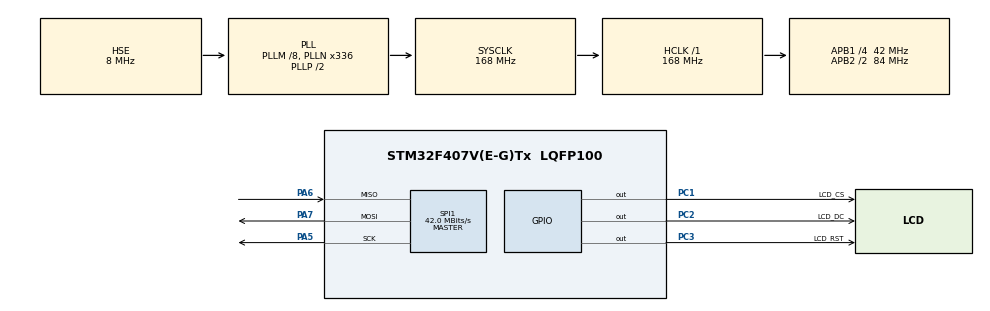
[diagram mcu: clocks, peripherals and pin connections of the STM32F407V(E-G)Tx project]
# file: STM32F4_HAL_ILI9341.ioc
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Dma.Request0=SPI1_TX
Dma.SPI1_TX.0.Direction=DMA_MEMORY_TO_PERIPH
Dma.SPI1_TX.0.FIFOMode=DMA_FIFOMODE_DISABLE
Dma.SPI1_TX.0.Instance=DMA2_Stream3
Dma.SPI1_TX.0.MemDataAlignment=DMA_MDATAALIGN_BYTE
Dma.SPI1_TX.0.MemInc=DMA_MINC_ENABLE
Dma.SPI1_TX.0.Mode=DMA_NORMAL
Dma.SPI1_TX.0.PeriphDataAlignment=DMA_PDATAALIGN_BYTE
Dma.SPI1_TX.0.PeriphInc=DMA_PINC_DISABLE
Dma.SPI1_TX.0.Priority=DMA_PRIORITY_LOW
Mcu.Family=STM32F4
Mcu.Name=STM32F407V(E-G)Tx
Mcu.Package=LQFP100
NVIC.DMA2_Stream3_IRQn=true\:0\:0\:false\:false\:true\:false
NVIC.PriorityGroup=NVIC_PRIORITYGROUP_0
NVIC.SPI1_IRQn=true\:0\:0\:false\:false\:true\:true
PA5.Mode=Full_Duplex_Master
PA5.Signal=SPI1_SCK
PA6.Mode=Full_Duplex_Master
PA6.Signal=SPI1_MISO
PA7.Mode=Full_Duplex_Master
PA7.Signal=SPI1_MOSI
PC1.GPIO_Label=LCD_CS
PC1.Signal=GPIO_Output
PC2.GPIO_Label=LCD_DC
PC2.Signal=GPIO_Output
PC3.GPIO_Label=LCD_RST
PC3.Signal=GPIO_Output
PH0-OSC_IN.Mode=HSE-External-Oscillator
PH0-OSC_IN.Signal=RCC_OSC_IN
PH1-OSC_OUT.Mode=HSE-External-Oscillator
PH1-OSC_OUT.Signal=RCC_OSC_OUT
ProjectManager.HeapSize=0x200
ProjectManager.StackSize=0x400
ProjectManager.TargetToolchain=TrueSTUDIO
RCC.48MHZClocksFreq_Value=48000000
RCC.AHBFreq_Value=168000000
RCC.APB1CLKDivider=RCC_HCLK_DIV4
RCC.APB1Freq_Value=42000000
RCC.APB1TimFreq_Value=84000000
RCC.APB2CLKDivider=RCC_HCLK_DIV2
RCC.APB2Freq_Value=84000000
RCC.APB2TimFreq_Value=168000000
RCC.CortexFreq_Value=168000000
RCC.HCLKFreq_Value=168000000
RCC.HSE_VALUE=8000000
RCC.HSI_VALUE=16000000
RCC.LSE_VALUE=32768
RCC.PLLM=8
RCC.PLLN=336
RCC.PLLQ=7
RCC.PLLSourceVirtual=RCC_PLLSOURCE_HSE
RCC.SYSCLKFreq_VALUE=168000000
RCC.SYSCLKSource=RCC_SYSCLKSOURCE_PLLCLK
RCC.VCOOutputFreq_Value=336000000
SPI1.BaudRatePrescaler=SPI_BAUDRATEPRESCALER_2
SPI1.CalculateBaudRate=42.0 MBits/s
SPI1.Direction=SPI_DIRECTION_2LINES
SPI1.Mode=SPI_MODE_MASTER
SPI1.VirtualType=VM_MASTER
VP_RNG_VS_RNG.Mode=RNG_Activate
board=STM32F4DISCOVERY

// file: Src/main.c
/**
  ******************************************************************************
  * @file           : main.c
  * @brief          : Main program body
  ******************************************************************************
  ** This notice applies to any and all portions of this file
  * that are not between comment pairs USER CODE BEGIN and
  * USER CODE END. Other portions of this file, whether
  * inserted by the user or by software development tools
  * are owned by their respective copyright owners.
  *
  * COPYRIGHT(c) 2019 STMicroelectronics
  *
  * Redistribution and use in source and binary forms, with or without modification,
  * are permitted provided that the following conditions are met:
  *   1. Redistributions of source code must retain the above copyright notice,
  *      this list of conditions and the following disclaimer.
  *   2. Redistributions in binary form must reproduce the above copyright notice,
  *      this list of conditions and the following disclaimer in the documentation
  *      and/or other materials provided with the distribution.
  *   3. Neither the name of STMicroelectronics nor the names of its contributors
  *      may be used to endorse or promote products derived from this software
  *      without specific prior written permission.
  *
  * THIS SOFTWARE IS PROVIDED BY THE COPYRIGHT HOLDERS AND CONTRIBUTORS "AS IS"
  * AND ANY EXPRESS OR IMPLIED WARRANTIES, INCLUDING, BUT NOT LIMITED TO, THE
  * IMPLIED WARRANTIES OF MERCHANTABILITY AND FITNESS FOR A PARTICULAR PURPOSE ARE
  * DISCLAIMED. IN NO EVENT SHALL THE COPYRIGHT HOLDER OR CONTRIBUTORS BE LIABLE
  * FOR ANY DIRECT, INDIRECT, INCIDENTAL, SPECIAL, EXEMPLARY, OR CONSEQUENTIAL
  * DAMAGES (INCLUDING, BUT NOT LIMITED TO, PROCUREMENT OF SUBSTITUTE GOODS OR
  * SERVICES; LOSS OF USE, DATA, OR PROFITS; OR BUSINESS INTERRUPTION) HOWEVER
  * CAUSED AND ON ANY THEORY OF LIABILITY, WHETHER IN CONTRACT, STRICT LIABILITY,
  * OR TORT (INCLUDING NEGLIGENCE OR OTHERWISE) ARISING IN ANY WAY OUT OF THE USE
  * OF THIS SOFTWARE, EVEN IF ADVISED OF THE POSSIBILITY OF SUCH DAMAGE.
  *
  ******************************************************************************
  */
#include "main.h"
#include "stm32f4xx_hal.h"

/* USER CODE BEGIN Includes */
#include "ILI9341_STM32_Driver.h"
#include "ILI9341_GFX.h"
#include "snow_tiger.h"

/* USER CODE END Includes */

RNG_HandleTypeDef hrng;

SPI_HandleTypeDef hspi1;
DMA_HandleTypeDef hdma_spi1_tx;

/* USER CODE BEGIN PV */
/* Private variables ---------------------------------------------------------*/

/* USER CODE END PV */

void SystemClock_Config(void);
static void MX_GPIO_Init(void);
static void MX_DMA_Init(void);
static void MX_SPI1_Init(void);
static void MX_RNG_Init(void);

/* USER CODE BEGIN PFP */
/* Private function prototypes -----------------------------------------------*/

/* USER CODE END PFP */

int main(void)
{

  /* MCU Configuration----------------------------------------------------------*/

  /* Reset of all peripherals, Initializes the Flash interface and the Systick. */
  HAL_Init();

  /* Configure the system clock */
  SystemClock_Config();

  /* Initialize all configured peripherals */
  MX_GPIO_Init();
  MX_DMA_Init();
  MX_SPI1_Init();
  MX_RNG_Init();
  /* USER CODE BEGIN 2 */
	ILI9341_Init();

  /* USER CODE END 2 */

  /* Infinite loop */
  /* USER CODE BEGIN WHILE */
	while (1)
	{
		static uint16_t x = 0;
		static uint16_t y = 0;
		static char BufferText[40];

  /* USER CODE END WHILE */

  /* USER CODE BEGIN 3 */

		/* COUNTING MULTIPLE SEGMENTS */
		ILI9341_FillScreen(WHITE);
		ILI9341_SetRotation(SCREEN_HORIZONTAL_2);
		ILI9341_DrawText("Counting multiple segments at once", FONT2, 10, 10, BLACK, WHITE);
		HAL_Delay(2000);
		ILI9341_FillScreen(WHITE);

		for(uint16_t i = 0; i <= 10; i++)
		{
			sprintf(BufferText, "Counting: %d", i);
			ILI9341_DrawText(BufferText, FONT3, 10, 10, BLACK, WHITE);
			ILI9341_DrawText(BufferText, FONT3, 10, 30, BLUE, WHITE);
			ILI9341_DrawText(BufferText, FONT3, 10, 50, RED, WHITE);
			ILI9341_DrawText(BufferText, FONT3, 10, 70, GREEN, WHITE);
			ILI9341_DrawText(BufferText, FONT3, 10, 90, BLACK, WHITE);
			ILI9341_DrawText(BufferText, FONT3, 10, 110, BLUE, WHITE);
			ILI9341_DrawText(BufferText, FONT3, 10, 130, RED, WHITE);
			ILI9341_DrawText(BufferText, FONT3, 10, 150, GREEN, WHITE);
			ILI9341_DrawText(BufferText, FONT3, 10, 170, WHITE, BLACK);
			ILI9341_DrawText(BufferText, FONT3, 10, 190, BLUE, BLACK);
			ILI9341_DrawText(BufferText, FONT3, 10, 210, RED, BLACK);
		}
		HAL_Delay(1000);

		/* COUNTING SINGLE SEGMENT */
		ILI9341_FillScreen(WHITE);
		ILI9341_SetRotation(SCREEN_HORIZONTAL_2);
		ILI9341_DrawText("Counting single segment", FONT3, 10, 10, BLACK, WHITE);
		HAL_Delay(2000);
		ILI9341_FillScreen(WHITE);

		for(uint16_t i = 0; i <= 100; i++)
		{
			sprintf(BufferText, "Counting: %d", i);
			ILI9341_DrawText(BufferText, FONT4, 10, 10, BLACK, WHITE);
			HAL_Delay(10);
		}
		HAL_Delay(1000);

		/* ALIGNMENT TEST */
		ILI9341_FillScreen(WHITE);
		ILI9341_SetRotation(SCREEN_HORIZONTAL_2);
		ILI9341_DrawText("Rectangle alignment check", FONT3, 10, 10, BLACK, WHITE);
		HAL_Delay(2000);
		ILI9341_FillScreen(WHITE);

		ILI9341_DrawHollowRectangleCoord(50, 50, 100, 100, BLACK);
		ILI9341_DrawFilledRectangleCoord(20, 20, 50, 50, BLACK);
		ILI9341_DrawHollowRectangleCoord(10, 10, 19, 19, BLACK);
		HAL_Delay(1000);

		/* LINES EXAMPLE */
		ILI9341_FillScreen(WHITE);
		ILI9341_SetRotation(SCREEN_HORIZONTAL_2);
		ILI9341_DrawText("Randomly placed and sized", FONT3, 10, 10, BLACK, WHITE);
		ILI9341_DrawText("Horizontal and Vertical lines", FONT3, 10, 30, BLACK, WHITE);
		HAL_Delay(2000);
		ILI9341_FillScreen(WHITE);

		for(uint32_t i = 0; i < 30000; i++)
		{
			uint32_t random_num = 0;
			uint16_t xr = 0;
			uint16_t yr = 0;
			uint16_t radiusr = 0;
			uint16_t colourr = 0;

			/* Get random inputs */
			random_num = HAL_RNG_GetRandomNumber(&hrng);
			xr = random_num;
			random_num = HAL_RNG_GetRandomNumber(&hrng);
			yr = random_num;
			random_num = HAL_RNG_GetRandomNumber(&hrng);
			radiusr = random_num;
			random_num = HAL_RNG_GetRandomNumber(&hrng);
			colourr = random_num;

			xr &= 0x01FF;
			yr &= 0x01FF;
			radiusr &= 0x001F;

			ILI9341_DrawHLine(xr, yr, radiusr, colourr);
			ILI9341_DrawVLine(xr, yr, radiusr, colourr);
		}
		HAL_Delay(1000);

		/* HOLLOW CIRCLES EXAMPLE */
		ILI9341_FillScreen(WHITE);
		ILI9341_SetRotation(SCREEN_HORIZONTAL_2);
		ILI9341_DrawText("Randomly placed and sized", FONT3, 10, 10, BLACK, WHITE);
		ILI9341_DrawText("Circles", FONT3, 10, 30, BLACK, WHITE);
		HAL_Delay(2000);
		ILI9341_FillScreen(WHITE);

		for(uint32_t i = 0; i < 3000; i++)
		{
			uint32_t random_num = 0;
			uint16_t xr = 0;
			uint16_t yr = 0;
			uint16_t radiusr = 0;
			uint16_t colourr = 0;

			random_num = HAL_RNG_GetRandomNumber(&hrng);
			xr = random_num;
			random_num = HAL_RNG_GetRandomNumber(&hrng);
			yr = random_num;
			random_num = HAL_RNG_GetRandomNumber(&hrng);
			radiusr = random_num;
			random_num = HAL_RNG_GetRandomNumber(&hrng);
			colourr = random_num;

			xr &= 0x01FF;
			yr &= 0x01FF;
			radiusr &= 0x001F;

			ILI9341_DrawHollowCircle(xr, yr, radiusr*2, colourr);
		}
		HAL_Delay(1000);

		/* FILLED CIRCLES EXAMPLE */
		ILI9341_FillScreen(WHITE);
		ILI9341_SetRotation(SCREEN_HORIZONTAL_2);
		ILI9341_DrawText("Randomly placed and sized", FONT3, 10, 10, BLACK,WHITE);
		ILI9341_DrawText("Filled Circles", FONT3, 10, 30, BLACK, WHITE);
		HAL_Delay(2000);
		ILI9341_FillScreen(WHITE);

		for(uint32_t i = 0; i < 1000; i++)
		{
			uint32_t random_num = 0;
			uint16_t xr = 0;
			uint16_t yr = 0;
			uint16_t radiusr = 0;
			uint16_t colourr = 0;

			random_num = HAL_RNG_GetRandomNumber(&hrng);
			xr = random_num;
			random_num = HAL_RNG_GetRandomNumber(&hrng);
			yr = random_num;
			random_num = HAL_RNG_GetRandomNumber(&hrng);
			radiusr = random_num;
			random_num = HAL_RNG_GetRandomNumber(&hrng);
			colourr = random_num;

			xr &= 0x01FF;
			yr &= 0x01FF;
			radiusr &= 0x001F;

			ILI9341_DrawFilledCircle(xr, yr, radiusr/2, colourr);
		}
		HAL_Delay(1000);

		/* HOLLOW RECTANGLES EXAMPLE */
		ILI9341_FillScreen(WHITE);
		ILI9341_SetRotation(SCREEN_HORIZONTAL_2);
		ILI9341_DrawText("Randomly placed and sized", FONT3, 10, 10, BLACK, WHITE);
		ILI9341_DrawText("Rectangles", FONT3, 10, 30, BLACK, WHITE);
		HAL_Delay(2000);
		ILI9341_FillScreen(WHITE);

		for(uint32_t i = 0; i < 20000; i++)
		{
			uint32_t random_num = 0;
			uint16_t xr = 0;
			uint16_t yr = 0;
			uint16_t radiusr = 0;
			uint16_t colourr = 0;

			random_num = HAL_RNG_GetRandomNumber(&hrng);
			xr = random_num;
			random_num = HAL_RNG_GetRandomNumber(&hrng);
			yr = random_num;
			random_num = HAL_RNG_GetRandomNumber(&hrng);
			radiusr = random_num;
			random_num = HAL_RNG_GetRandomNumber(&hrng);
			colourr = random_num;

			xr &= 0x01FF;
			yr &= 0x01FF;
			radiusr &= 0x001F;

			ILI9341_DrawHollowRectangleCoord(xr, yr, xr+radiusr, yr+radiusr, colourr);
		}
		HAL_Delay(1000);

		/* FILLED RECTANGLES EXAMPLE */
		ILI9341_FillScreen(WHITE);
		ILI9341_SetRotation(SCREEN_HORIZONTAL_2);
		ILI9341_DrawText("Randomly placed and sized", FONT3, 10, 10, BLACK, WHITE);
		ILI9341_DrawText("Filled Rectangles", FONT3, 10, 30, BLACK, WHITE);
		HAL_Delay(2000);
		ILI9341_FillScreen(WHITE);

		for(uint32_t i = 0; i < 20000; i++)
		{
			uint32_t random_num = 0;
			uint16_t xr = 0;
			uint16_t yr = 0;
			uint16_t radiusr = 0;
			uint16_t color = 0;

			random_num = HAL_RNG_GetRandomNumber(&hrng);
			xr = random_num;
			random_num = HAL_RNG_GetRandomNumber(&hrng);
			yr = random_num;
			random_num = HAL_RNG_GetRandomNumber(&hrng);
			radiusr = random_num;
			random_num = HAL_RNG_GetRandomNumber(&hrng);
			color = random_num;

			xr &= 0x01FF;
			yr &= 0x01FF;
			radiusr &= 0x001F;

			ILI9341_DrawRectangle(xr, yr, radiusr, radiusr, color);
		}
		HAL_Delay(1000);

		/* INDIVIDUAL PIXEL EXAMPLE */

		ILI9341_FillScreen(WHITE);
		ILI9341_SetRotation(SCREEN_HORIZONTAL_2);
		ILI9341_DrawText("Slow draw by selecting", FONT3, 10, 10, BLACK, WHITE);
		ILI9341_DrawText("and adressing pixels", FONT3, 10, 30, BLACK, WHITE);
		HAL_Delay(2000);
		ILI9341_FillScreen(WHITE);

		x = 0;
		y = 0;

		while (y < ILI9341_SCREEN_HEIGHT)
		{
			while ((x < ILI9341_SCREEN_WIDTH) && (y < ILI9341_SCREEN_HEIGHT))
			{
				if(x % 2)
				{
					ILI9341_DrawPixel(x, y, BLACK);
				}
				x++;
			}
			y++;
			x = 0;
		}

		x = 0;
		y = 0;

		while (y < ILI9341_SCREEN_HEIGHT)
		{
			while ((x < ILI9341_SCREEN_WIDTH) && (y < ILI9341_SCREEN_HEIGHT))
			{
				if(y % 2)
				{
					ILI9341_DrawPixel(x, y, BLACK);
				}
				x++;
			}
			y++;
			x = 0;
		}
		HAL_Delay(2000);

		/* INDIVIDUAL PIXEL EXAMPLE */
		ILI9341_FillScreen(WHITE);
		ILI9341_SetRotation(SCREEN_HORIZONTAL_2);
		ILI9341_DrawText("Random position and color", FONT3, 10, 10, BLACK, WHITE);
		ILI9341_DrawText("500000 pixels", FONT3, 10, 30, BLACK, WHITE);
		HAL_Delay(2000);
		ILI9341_FillScreen(WHITE);

		for(uint32_t i = 0; i < 500000; i++)
		{
			uint32_t random_num = 0;
			uint16_t xr = 0;
			uint16_t yr = 0;

			random_num = HAL_RNG_GetRandomNumber(&hrng);
			xr = random_num;
			random_num = HAL_RNG_GetRandomNumber(&hrng);
			yr = random_num;
			uint16_t color = HAL_RNG_GetRandomNumber(&hrng);

			xr &= 0x01FF;
			yr &= 0x01FF;

			ILI9341_DrawPixel(xr, yr, color);
		}
		HAL_Delay(2000);

		/* 565 GRAYSCALE EXAMPLE */
		ILI9341_FillScreen(WHITE);
		ILI9341_SetRotation(SCREEN_HORIZONTAL_2);
		ILI9341_DrawText("Color gradient", FONT3, 10, 10, BLACK, WHITE);
		ILI9341_DrawText("Grayscale", FONT3, 10, 30, BLACK, WHITE);
		HAL_Delay(2000);

		for(uint16_t i = 0; i <= ILI9341_SCREEN_WIDTH; i++)
		{
			uint16_t Red = 0;
			uint16_t Green = 0;
			uint16_t Blue = 0;

			Red = i/(10);
			Red <<= 11;
			Green = i/(5);
			Green <<= 5;
			Blue = i/(10);

			uint16_t RGB = Red + Green + Blue;
			ILI9341_DrawRectangle(i, x, 1, 240, RGB);

		}
		HAL_Delay(2000);

		/* IMAGE EXAMPLE */
		ILI9341_FillScreen(WHITE);
		ILI9341_SetRotation(SCREEN_HORIZONTAL_2);
		ILI9341_DrawText("RGB Picture", FONT3, 10, 10, RED, YELLOW);
		ILI9341_DrawText("TIGER", FONT3, 10, 30, BLACK, WHITE);
		HAL_Delay(2000);
		ILI9341_DrawImage(snow_tiger, SCREEN_VERTICAL_2);
		ILI9341_SetRotation(SCREEN_VERTICAL_1);
		HAL_Delay(5000);
	}
  /* USER CODE END 3 */

}

void SystemClock_Config(void)
{

  RCC_OscInitTypeDef RCC_OscInitStruct;
  RCC_ClkInitTypeDef RCC_ClkInitStruct;

    /**Configure the main internal regulator output voltage
    */
  __HAL_RCC_PWR_CLK_ENABLE();

  __HAL_PWR_VOLTAGESCALING_CONFIG(PWR_REGULATOR_VOLTAGE_SCALE1);

    /**Initializes the CPU, AHB and APB busses clocks
    */
  RCC_OscInitStruct.OscillatorType = RCC_OSCILLATORTYPE_HSE;
  RCC_OscInitStruct.HSEState = RCC_HSE_ON;
  RCC_OscInitStruct.PLL.PLLState = RCC_PLL_ON;
  RCC_OscInitStruct.PLL.PLLSource = RCC_PLLSOURCE_HSE;
  RCC_OscInitStruct.PLL.PLLM = 8;
  RCC_OscInitStruct.PLL.PLLN = 336;
  RCC_OscInitStruct.PLL.PLLP = RCC_PLLP_DIV2;
  RCC_OscInitStruct.PLL.PLLQ = 7;
  if (HAL_RCC_OscConfig(&RCC_OscInitStruct) != HAL_OK)
  {
    _Error_Handler(__FILE__, __LINE__);
  }

    /**Initializes the CPU, AHB and APB busses clocks
    */
  RCC_ClkInitStruct.ClockType = RCC_CLOCKTYPE_HCLK|RCC_CLOCKTYPE_SYSCLK
                              |RCC_CLOCKTYPE_PCLK1|RCC_CLOCKTYPE_PCLK2;
  RCC_ClkInitStruct.SYSCLKSource = RCC_SYSCLKSOURCE_PLLCLK;
  RCC_ClkInitStruct.AHBCLKDivider = RCC_SYSCLK_DIV1;
  RCC_ClkInitStruct.APB1CLKDivider = RCC_HCLK_DIV4;
  RCC_ClkInitStruct.APB2CLKDivider = RCC_HCLK_DIV2;

  if (HAL_RCC_ClockConfig(&RCC_ClkInitStruct, FLASH_LATENCY_5) != HAL_OK)
  {
    _Error_Handler(__FILE__, __LINE__);
  }

    /**Configure the Systick interrupt time
    */
  HAL_SYSTICK_Config(HAL_RCC_GetHCLKFreq()/1000);

    /**Configure the Systick
    */
  HAL_SYSTICK_CLKSourceConfig(SYSTICK_CLKSOURCE_HCLK);

  /* SysTick_IRQn interrupt configuration */
  HAL_NVIC_SetPriority(SysTick_IRQn, 0, 0);
}

/* RNG init function */
static void MX_RNG_Init(void)
{

  hrng.Instance = RNG;
  if (HAL_RNG_Init(&hrng) != HAL_OK)
  {
    _Error_Handler(__FILE__, __LINE__);
  }

}

/* SPI1 init function */
static void MX_SPI1_Init(void)
{

  /* SPI1 parameter configuration*/
  hspi1.Instance = SPI1;
  hspi1.Init.Mode = SPI_MODE_MASTER;
  hspi1.Init.Direction = SPI_DIRECTION_2LINES;
  hspi1.Init.DataSize = SPI_DATASIZE_8BIT;
  hspi1.Init.CLKPolarity = SPI_POLARITY_LOW;
  hspi1.Init.CLKPhase = SPI_PHASE_1EDGE;
  hspi1.Init.NSS = SPI_NSS_SOFT;
  hspi1.Init.BaudRatePrescaler = SPI_BAUDRATEPRESCALER_2;
  hspi1.Init.FirstBit = SPI_FIRSTBIT_MSB;
  hspi1.Init.TIMode = SPI_TIMODE_DISABLE;
  hspi1.Init.CRCCalculation = SPI_CRCCALCULATION_DISABLE;
  hspi1.Init.CRCPolynomial = 10;
  if (HAL_SPI_Init(&hspi1) != HAL_OK)
  {
    _Error_Handler(__FILE__, __LINE__);
  }

}

static void MX_DMA_Init(void)
{
  /* DMA controller clock enable */
  __HAL_RCC_DMA2_CLK_ENABLE();

  /* DMA interrupt init */
  /* DMA2_Stream3_IRQn interrupt configuration */
  HAL_NVIC_SetPriority(DMA2_Stream3_IRQn, 0, 0);
  HAL_NVIC_EnableIRQ(DMA2_Stream3_IRQn);

}

/** Configure pins as
        * Analog
        * Input
        * Output
        * EVENT_OUT
        * EXTI
*/
static void MX_GPIO_Init(void)
{

  GPIO_InitTypeDef GPIO_InitStruct;

  /* GPIO Ports Clock Enable */
  __HAL_RCC_GPIOH_CLK_ENABLE();
  __HAL_RCC_GPIOC_CLK_ENABLE();
  __HAL_RCC_GPIOA_CLK_ENABLE();

  /*Configure GPIO pin Output Level */
  HAL_GPIO_WritePin(GPIOC, LCD_CS_Pin|LCD_DC_Pin|LCD_RST_Pin, GPIO_PIN_RESET);

  /*Configure GPIO pins : LCD_CS_Pin LCD_DC_Pin LCD_RST_Pin */
  GPIO_InitStruct.Pin = LCD_CS_Pin|LCD_DC_Pin|LCD_RST_Pin;
  GPIO_InitStruct.Mode = GPIO_MODE_OUTPUT_PP;
  GPIO_InitStruct.Pull = GPIO_NOPULL;
  GPIO_InitStruct.Speed = GPIO_SPEED_FREQ_LOW;
  HAL_GPIO_Init(GPIOC, &GPIO_InitStruct);

}

void _Error_Handler(char *file, int line)
{
	while(1)
	{
	}
}

/************************ (C) COPYRIGHT STMicroelectronics *****END OF FILE****/
